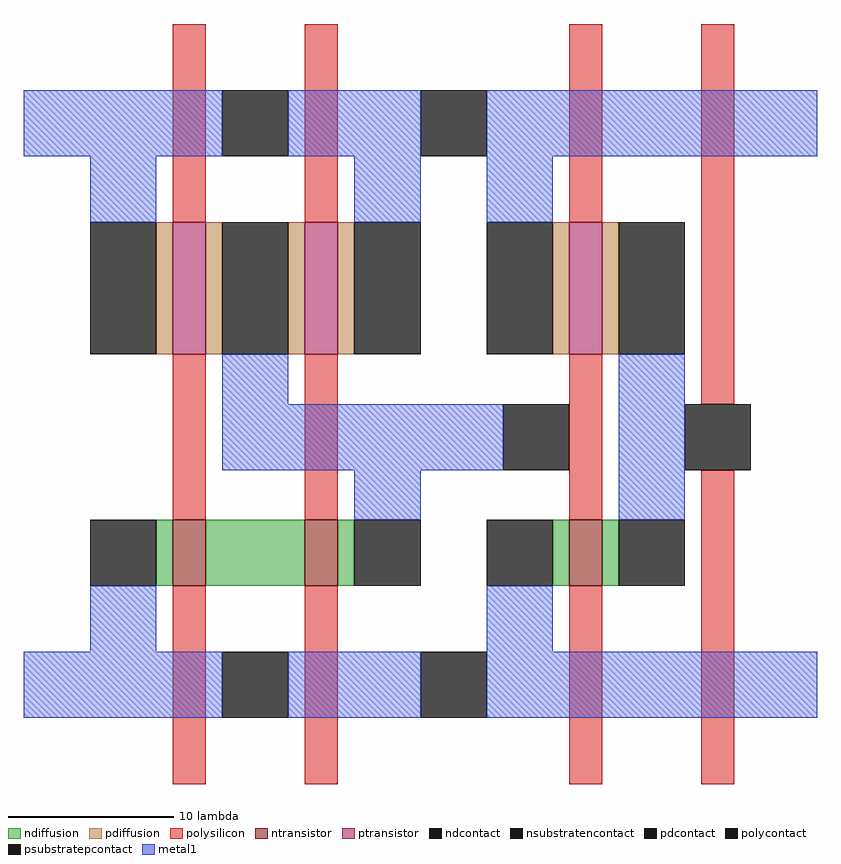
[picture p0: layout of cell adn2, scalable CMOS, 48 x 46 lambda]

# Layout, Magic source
magic
tech scmos
<< polysilicon >>
rect -5 38 -3 50
rect 3 38 5 50
rect 19 38 21 50
rect -5 20 -3 30
rect 3 20 5 30
rect 19 20 21 30
rect 27 27 29 50
rect -5 4 -3 16
rect 3 4 5 16
rect 19 4 21 16
rect 27 4 29 23
<< ndiffusion >>
rect -6 16 -5 20
rect -3 16 3 20
rect 5 16 6 20
rect 18 16 19 20
rect 21 16 22 20
<< pdiffusion >>
rect -6 30 -5 38
rect -3 30 -2 38
rect 2 30 3 38
rect 5 30 6 38
rect 18 30 19 38
rect 21 30 22 38
<< metal1 >>
rect -14 42 -2 46
rect 2 42 10 46
rect 14 42 34 46
rect -10 38 -6 42
rect 6 38 10 42
rect 14 38 18 42
rect -2 27 2 30
rect -2 23 15 27
rect 6 20 10 23
rect 22 20 26 30
rect -10 12 -6 16
rect 14 12 18 16
rect -14 8 -2 12
rect 2 8 10 12
rect 14 8 34 12
<< ntransistor >>
rect -5 16 -3 20
rect 3 16 5 20
rect 19 16 21 20
<< ptransistor >>
rect -5 30 -3 38
rect 3 30 5 38
rect 19 30 21 38
<< polycontact >>
rect 15 23 19 27
rect 26 23 30 27
<< ndcontact >>
rect -10 16 -6 20
rect 6 16 10 20
rect 14 16 18 20
rect 22 16 26 20
<< pdcontact >>
rect -10 30 -6 38
rect -2 30 2 38
rect 6 30 10 38
rect 14 30 18 38
rect 22 30 26 38
<< psubstratepcontact >>
rect -2 8 2 12
rect 10 8 14 12
<< nsubstratencontact >>
rect -2 42 2 46
rect 10 42 14 46
<< end >>
